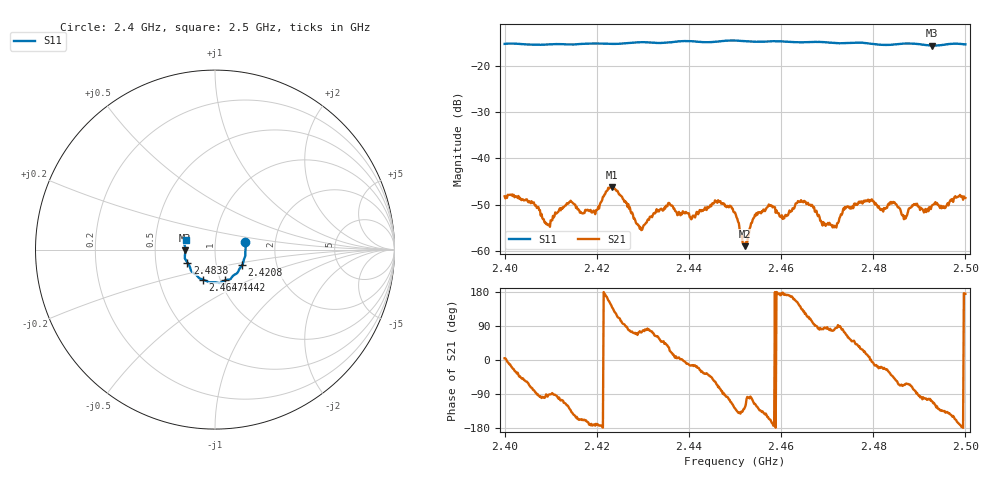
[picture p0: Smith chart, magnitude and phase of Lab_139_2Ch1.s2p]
# Hz S RI R 50
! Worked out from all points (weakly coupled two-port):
!   601 points, 2.4 GHz to 2.5 GHz, reference 50 ohm
!   highest |S21| = -46.21 dB at 2.4233 GHz (marker M1); lowest = -59.0 dB at 2.4522 GHz (marker M2)
!   lowest |S11| = -15.6 dB at 2.4928 GHz (marker M3), VSWR 1.40, Z = 35.8 - j0.349 ohm
!   |S11| at or under -10 dB: start of sweep to end of sweep
!   S12 and S22 are empty: the file has one direction only
!   S11 on the Smith chart (normalised r, x): 2.4 GHz: 1.40, +0.12; 2.4208 GHz: 1.33, -0.24; 2.4442 GHz: 1.05, -0.37; 2.4647 GHz: 0.83, -0.29; 2.4838 GHz: 0.73, -0.11; 2.5 GHz: 0.72, +0.08
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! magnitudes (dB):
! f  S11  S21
! 2.4 GHz  -15.2  -48.2
! 2.4063 GHz  -15.4  -49.5
! 2.4093 GHz  -15.4  -54.4
! 2.414 GHz  -15.4  -49.5
! 2.4167 GHz  -15.2  -51.8
! 2.4208 GHz  -15.2  -49.6
! 2.4233 GHz  -15.2  -46.2
! 2.4295 GHz  -14.9  -55.0
! 2.4333 GHz  -15.0  -51.3
! 2.4442 GHz  -14.9  -50.8
! 2.45 GHz  -14.5  -51.7
! 2.4522 GHz  -14.7  -59.0
! 2.4548 GHz  -14.8  -52.2
! 2.4647 GHz  -14.9  -49.4
! 2.4667 GHz  -14.8  -50.1
! 2.4715 GHz  -15.0  -54.9
! 2.474 GHz  -15.1  -50.8
! 2.4833 GHz  -15.5  -49.8
! 2.4838 GHz  -15.4  -49.4
! 2.4868 GHz  -15.2  -52.5
! 2.4928 GHz  -15.6  -50.1
! 2.5 GHz  -15.4  -48.6
